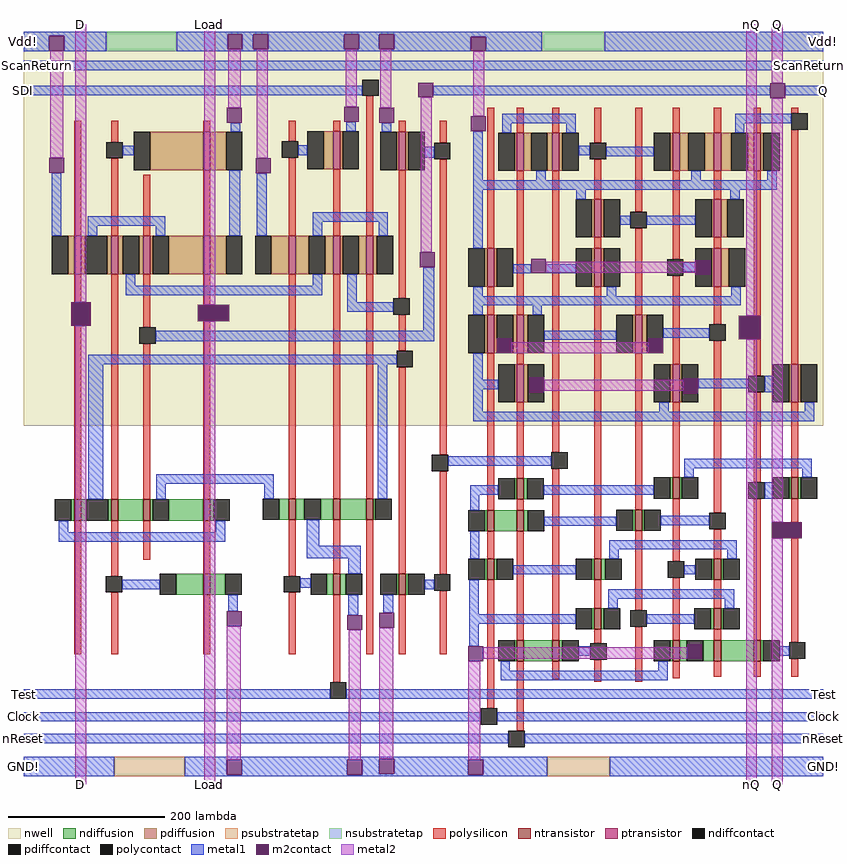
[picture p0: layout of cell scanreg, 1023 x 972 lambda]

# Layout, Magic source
magic
tech tsmc180
<< nwell >>
rect 0 458 1023 962
<< polysilicon >>
rect 65 701 74 848
rect 112 821 121 848
rect 230 834 239 848
rect 112 701 121 800
rect 339 822 348 848
rect 396 835 405 848
rect 153 701 162 779
rect 230 701 239 785
rect 339 701 348 801
rect 396 701 405 786
rect 438 701 447 880
rect 480 834 489 848
rect 532 820 541 848
rect 65 616 74 652
rect 65 364 74 586
rect 112 364 121 652
rect 153 584 162 652
rect 230 613 239 652
rect 153 364 162 563
rect 230 364 239 592
rect 339 365 348 652
rect 396 365 405 652
rect 438 365 447 652
rect 480 621 489 785
rect 480 554 489 600
rect 65 166 74 337
rect 112 266 121 337
rect 153 287 162 337
rect 230 269 239 337
rect 112 166 121 245
rect 339 266 348 338
rect 396 269 405 338
rect 230 166 239 242
rect 339 166 348 245
rect 396 130 405 242
rect 438 166 447 338
rect 480 269 489 533
rect 532 421 541 799
rect 593 685 602 865
rect 631 833 640 865
rect 676 833 685 865
rect 730 820 739 865
rect 593 600 602 636
rect 631 600 640 784
rect 532 268 541 400
rect 593 350 602 551
rect 631 537 640 551
rect 631 391 640 488
rect 676 424 685 784
rect 730 748 739 799
rect 782 732 791 865
rect 830 833 839 865
rect 883 833 892 865
rect 934 833 943 865
rect 982 858 991 865
rect 730 685 739 699
rect 631 350 640 364
rect 593 288 602 323
rect 480 166 489 242
rect 532 166 541 247
rect 593 97 602 261
rect 631 184 640 323
rect 676 184 685 403
rect 730 288 739 636
rect 782 600 791 711
rect 830 671 839 784
rect 883 748 892 784
rect 883 685 892 699
rect 782 351 791 551
rect 830 537 839 650
rect 883 588 892 636
rect 934 599 943 784
rect 830 392 839 488
rect 730 225 739 261
rect 782 222 791 324
rect 830 285 839 365
rect 883 347 892 567
rect 934 522 943 569
rect 982 537 991 837
rect 934 386 943 501
rect 982 392 991 488
rect 883 288 892 326
rect 730 180 739 198
rect 631 68 640 157
rect 676 134 685 157
rect 730 131 739 159
rect 782 131 791 201
rect 830 184 839 264
rect 883 225 892 261
rect 883 184 892 198
rect 934 184 943 365
rect 982 335 991 365
rect 982 181 991 314
rect 830 135 839 157
rect 883 137 892 157
rect 934 137 943 157
rect 982 137 991 160
<< ndiffusion >>
rect 61 337 65 364
rect 74 337 80 364
rect 108 337 112 364
rect 121 337 153 364
rect 162 337 165 364
rect 186 337 230 364
rect 239 337 243 364
rect 327 338 339 365
rect 348 338 359 365
rect 380 338 396 365
rect 405 338 438 365
rect 447 338 450 365
rect 195 242 230 269
rect 239 242 258 269
rect 388 242 396 269
rect 405 242 412 269
rect 477 242 480 269
rect 489 242 492 269
rect 628 364 631 391
rect 640 364 644 391
rect 590 323 593 350
rect 602 323 631 350
rect 640 323 645 350
rect 590 261 593 288
rect 602 261 605 288
rect 827 365 830 392
rect 839 365 842 392
rect 779 324 782 351
rect 791 324 794 351
rect 727 261 730 288
rect 739 261 744 288
rect 727 198 730 225
rect 739 198 742 225
rect 979 365 982 392
rect 991 365 994 392
rect 628 157 631 184
rect 640 157 676 184
rect 685 157 689 184
rect 880 261 883 288
rect 892 261 895 288
rect 879 198 883 225
rect 892 198 895 225
rect 827 157 830 184
rect 839 157 848 184
rect 869 157 883 184
rect 892 157 934 184
rect 943 157 946 184
<< pdiffusion >>
rect 162 785 230 834
rect 239 785 259 834
rect 384 786 396 835
rect 405 786 408 835
rect 477 785 480 834
rect 489 785 492 834
rect 57 652 65 701
rect 74 652 79 701
rect 107 652 112 701
rect 121 652 127 701
rect 148 652 153 701
rect 162 652 165 701
rect 186 652 230 701
rect 239 652 259 701
rect 317 652 339 701
rect 348 652 365 701
rect 386 652 396 701
rect 405 652 408 701
rect 429 652 438 701
rect 447 652 452 701
rect 628 784 631 833
rect 640 784 649 833
rect 670 784 676 833
rect 685 784 689 833
rect 590 636 593 685
rect 602 636 605 685
rect 590 551 593 600
rect 602 551 605 600
rect 626 551 631 600
rect 640 551 645 600
rect 628 488 631 537
rect 640 488 645 537
rect 727 699 730 748
rect 739 699 742 748
rect 827 784 830 833
rect 839 784 850 833
rect 871 784 883 833
rect 892 784 905 833
rect 926 784 934 833
rect 943 784 946 833
rect 727 636 730 685
rect 739 636 742 685
rect 880 699 883 748
rect 892 699 900 748
rect 779 551 782 600
rect 791 551 797 600
rect 880 636 883 685
rect 892 636 902 685
rect 827 488 830 537
rect 839 488 842 537
rect 979 488 982 537
rect 991 488 994 537
<< ntransistor >>
rect 65 337 74 364
rect 112 337 121 364
rect 153 337 162 364
rect 230 337 239 364
rect 339 338 348 365
rect 396 338 405 365
rect 438 338 447 365
rect 230 242 239 269
rect 396 242 405 269
rect 480 242 489 269
rect 631 364 640 391
rect 593 323 602 350
rect 631 323 640 350
rect 593 261 602 288
rect 830 365 839 392
rect 782 324 791 351
rect 730 261 739 288
rect 730 198 739 225
rect 982 365 991 392
rect 631 157 640 184
rect 676 157 685 184
rect 883 261 892 288
rect 883 198 892 225
rect 830 157 839 184
rect 883 157 892 184
rect 934 157 943 184
<< ptransistor >>
rect 230 785 239 834
rect 396 786 405 835
rect 480 785 489 834
rect 65 652 74 701
rect 112 652 121 701
rect 153 652 162 701
rect 230 652 239 701
rect 339 652 348 701
rect 396 652 405 701
rect 438 652 447 701
rect 631 784 640 833
rect 676 784 685 833
rect 593 636 602 685
rect 593 551 602 600
rect 631 551 640 600
rect 631 488 640 537
rect 730 699 739 748
rect 830 784 839 833
rect 883 784 892 833
rect 934 784 943 833
rect 730 636 739 685
rect 883 699 892 748
rect 782 551 791 600
rect 883 636 892 685
rect 830 488 839 537
rect 982 488 991 537
<< polycontact >>
rect 433 880 454 901
rect 106 800 127 821
rect 330 801 351 822
rect 525 799 546 820
rect 61 586 86 616
rect 223 592 263 613
rect 148 563 169 584
rect 473 600 494 621
rect 477 533 498 554
rect 105 245 126 266
rect 333 245 354 266
rect 724 799 745 820
rect 522 400 543 421
rect 982 837 1003 858
rect 776 711 797 732
rect 675 403 696 424
rect 525 247 546 268
rect 392 109 413 130
rect 823 650 844 671
rect 877 567 898 588
rect 915 569 943 599
rect 927 501 948 522
rect 927 365 948 386
rect 877 326 898 347
rect 824 264 845 285
rect 776 201 797 222
rect 725 159 746 180
rect 585 76 606 97
rect 957 314 995 335
rect 979 160 1000 181
rect 620 47 641 68
<< ndiffcontact >>
rect 40 337 61 364
rect 80 337 108 364
rect 165 337 186 364
rect 243 337 264 364
rect 306 338 327 365
rect 359 338 380 365
rect 450 338 471 365
rect 174 242 195 269
rect 258 242 279 269
rect 367 242 388 269
rect 412 242 433 269
rect 456 242 477 269
rect 492 242 513 269
rect 607 364 628 391
rect 644 364 665 391
rect 569 323 590 350
rect 645 323 666 350
rect 569 261 590 288
rect 605 261 626 288
rect 806 365 827 392
rect 842 365 863 392
rect 758 324 779 351
rect 794 324 815 351
rect 706 261 727 288
rect 744 261 765 288
rect 706 198 727 225
rect 742 198 763 225
rect 958 365 979 392
rect 994 365 1015 392
rect 607 157 628 184
rect 689 157 710 184
rect 859 261 880 288
rect 895 261 916 288
rect 858 198 879 225
rect 895 198 916 225
rect 806 157 827 184
rect 848 157 869 184
rect 946 157 967 184
<< pdiffcontact >>
rect 141 785 162 834
rect 259 785 280 834
rect 363 786 384 835
rect 408 786 429 835
rect 456 785 477 834
rect 492 785 513 834
rect 36 652 57 701
rect 79 652 107 701
rect 127 652 148 701
rect 165 652 186 701
rect 259 652 280 701
rect 296 652 317 701
rect 365 652 386 701
rect 408 652 429 701
rect 452 652 473 701
rect 607 784 628 833
rect 649 784 670 833
rect 689 784 710 833
rect 569 636 590 685
rect 605 636 626 685
rect 569 551 590 600
rect 605 551 626 600
rect 645 551 666 600
rect 607 488 628 537
rect 645 488 666 537
rect 706 699 727 748
rect 742 699 763 748
rect 806 784 827 833
rect 850 784 871 833
rect 905 784 926 833
rect 946 784 967 833
rect 706 636 727 685
rect 742 636 763 685
rect 859 699 880 748
rect 900 699 921 748
rect 758 551 779 600
rect 797 551 818 600
rect 859 636 880 685
rect 902 636 923 685
rect 806 488 827 537
rect 842 488 863 537
rect 958 488 979 537
rect 994 488 1015 537
<< psubstratetap >>
rect 116 10 206 35
rect 670 10 750 35
<< nsubstratetap >>
rect 106 937 196 962
rect 663 937 743 962
<< metal1 >>
rect 0 957 106 962
rect 0 938 33 957
rect 52 938 106 957
rect 0 937 106 938
rect 196 959 663 962
rect 196 940 261 959
rect 280 940 294 959
rect 313 940 410 959
rect 429 940 455 959
rect 474 956 663 959
rect 474 940 572 956
rect 196 937 572 940
rect 591 937 663 956
rect 743 937 1023 962
rect 0 913 1023 925
rect 0 881 433 893
rect 524 881 955 893
rect 974 881 1023 893
rect 265 834 277 846
rect 413 835 425 847
rect 127 804 141 816
rect 351 804 363 817
rect 36 701 48 782
rect 82 714 181 726
rect 82 701 94 714
rect 169 701 181 714
rect 263 701 277 785
rect 458 834 470 846
rect 612 845 706 857
rect 513 801 525 815
rect 298 701 311 781
rect 575 772 587 835
rect 612 833 624 845
rect 694 833 706 845
rect 910 845 982 857
rect 910 833 922 845
rect 710 804 724 816
rect 745 803 806 815
rect 656 772 668 784
rect 854 772 866 784
rect 951 772 963 784
rect 575 760 963 772
rect 370 719 466 731
rect 370 701 382 719
rect 454 701 466 719
rect 575 685 587 760
rect 707 748 719 760
rect 904 748 916 760
rect 763 715 776 727
rect 797 715 859 727
rect 131 637 143 652
rect 370 637 382 652
rect 131 625 382 637
rect 414 616 426 652
rect 414 604 473 616
rect 511 580 525 661
rect 626 653 649 665
rect 668 653 706 665
rect 844 655 859 667
rect 575 624 587 636
rect 746 624 758 636
rect 905 624 917 636
rect 575 612 917 624
rect 575 600 587 612
rect 651 600 663 612
rect 169 566 525 580
rect 83 537 477 549
rect 83 364 102 537
rect 170 384 320 396
rect 170 364 182 384
rect 308 365 320 384
rect 453 365 465 537
rect 666 568 758 580
rect 818 571 877 583
rect 575 517 587 551
rect 575 505 607 517
rect 575 476 587 505
rect 863 506 927 518
rect 948 501 958 522
rect 813 476 825 488
rect 999 476 1011 488
rect 575 464 1011 476
rect 543 407 675 419
rect 845 404 1008 416
rect 845 392 857 404
rect 996 392 1008 404
rect 571 370 607 382
rect 571 350 583 370
rect 665 370 806 382
rect 948 365 958 386
rect 45 322 57 337
rect 246 322 258 337
rect 45 310 258 322
rect 362 305 378 338
rect 666 330 758 342
rect 815 331 877 343
rect 362 289 431 305
rect 415 269 431 289
rect 571 288 583 323
rect 749 300 912 312
rect 749 288 761 300
rect 900 288 912 300
rect 126 249 174 261
rect 354 251 367 263
rect 513 249 525 261
rect 626 268 706 280
rect 845 268 859 280
rect 262 221 274 242
rect 415 216 428 242
rect 460 219 473 242
rect 570 217 582 261
rect 748 237 909 249
rect 748 225 760 237
rect 897 225 909 237
rect 570 205 706 217
rect 570 176 582 205
rect 797 205 858 217
rect 710 164 725 176
rect 967 164 979 176
rect 610 145 622 157
rect 812 145 824 157
rect 610 133 824 145
rect 0 109 392 121
rect 413 109 1023 121
rect 0 80 585 92
rect 606 80 1023 92
rect 0 52 620 64
rect 641 52 1023 64
rect 0 10 116 35
rect 206 32 670 35
rect 206 31 455 32
rect 206 12 260 31
rect 279 12 414 31
rect 433 13 455 31
rect 474 31 670 32
rect 474 13 569 31
rect 433 12 569 13
rect 588 12 670 31
rect 206 10 670 12
rect 750 10 1023 35
<< m2contact >>
rect 33 938 52 957
rect 261 940 280 959
rect 294 940 313 959
rect 410 940 429 959
rect 455 940 474 959
rect 572 937 591 956
rect 505 878 524 897
rect 955 877 974 896
rect 260 846 279 865
rect 410 847 429 866
rect 455 846 474 865
rect 33 782 52 801
rect 297 781 316 800
rect 572 835 591 854
rect 507 661 526 680
rect 61 586 86 616
rect 223 592 263 613
rect 649 653 668 672
rect 860 651 879 670
rect 605 551 624 570
rect 799 551 818 570
rect 915 569 943 599
rect 647 501 666 520
rect 844 500 863 519
rect 957 314 995 335
rect 260 202 279 221
rect 414 197 433 216
rect 455 200 474 219
rect 569 157 588 176
rect 849 160 868 179
rect 260 12 279 31
rect 414 12 433 31
rect 455 13 474 32
rect 569 12 588 31
<< metal2 >>
rect 34 801 51 938
rect 66 616 80 972
rect 231 613 245 972
rect 262 865 278 940
rect 298 800 312 940
rect 412 866 426 940
rect 456 865 470 940
rect 508 680 522 878
rect 575 854 589 937
rect 668 654 860 668
rect 924 599 938 972
rect 957 896 971 972
rect 66 0 80 586
rect 231 0 245 592
rect 624 551 799 565
rect 666 503 844 517
rect 260 31 278 202
rect 416 31 431 197
rect 455 32 473 200
rect 588 160 849 175
rect 569 31 584 157
rect 924 0 938 569
rect 957 335 971 877
rect 957 0 971 314
<< labels >>
rlabel metal1 0 937 0 962 3 Vdd!
rlabel metal1 0 10 0 35 3 GND!
rlabel metal1 0 52 0 64 3 nReset
rlabel metal1 0 80 0 92 3 Clock
rlabel metal1 0 109 0 121 3 Test
rlabel metal1 0 913 0 925 3 ScanReturn
rlabel metal1 0 881 0 893 3 SDI
rlabel metal2 66 0 80 0 1 D
rlabel metal2 66 972 80 972 5 D
rlabel metal2 231 0 245 0 1 Load
rlabel metal2 231 972 245 972 5 Load
rlabel metal1 1023 109 1023 121 7 Test
rlabel metal1 1023 80 1023 92 1 Clock
rlabel metal1 1023 52 1023 64 1 nReset
rlabel metal1 1023 10 1023 35 1 GND!
rlabel metal1 1023 913 1023 925 7 ScanReturn
rlabel metal1 1023 937 1023 962 7 Vdd!
rlabel metal2 924 972 938 972 5 nQ
rlabel metal2 957 972 971 972 5 Q
rlabel metal2 957 0 971 0 1 Q
rlabel metal2 924 0 938 0 1 nQ
rlabel metal1 1023 881 1023 893 7 Q
<< end >>
